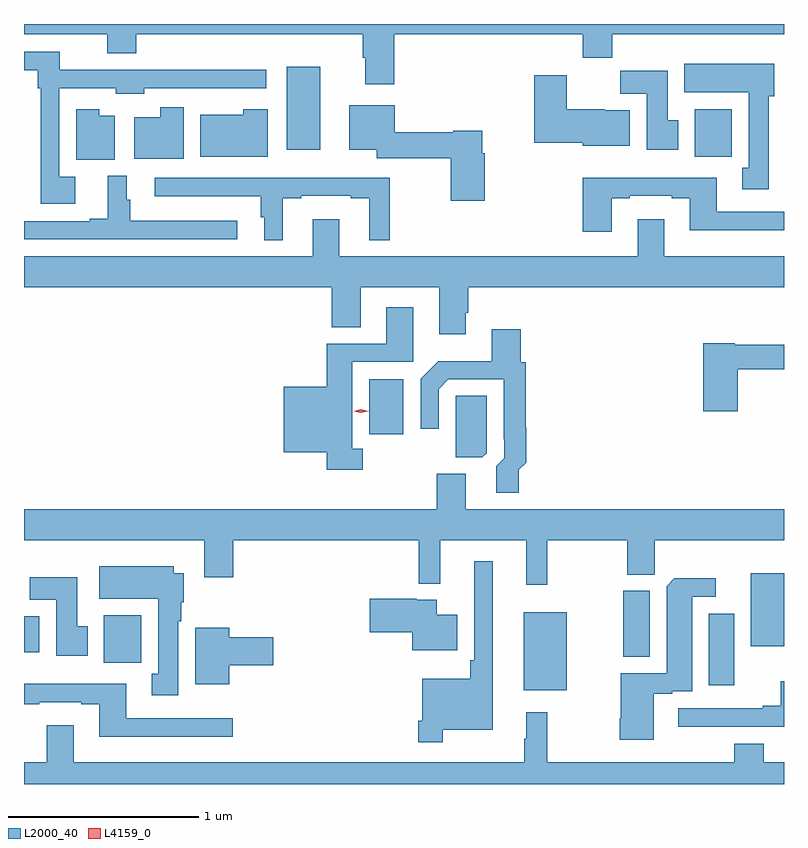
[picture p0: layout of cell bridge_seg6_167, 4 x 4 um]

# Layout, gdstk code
import gdstk
lib = gdstk.Library(unit=1e-6, precision=1e-09)
def R(c, l, rs):  # rectangles x0, y0, x1, y1
    for r in rs: c.add(gdstk.rectangle(r[:2], r[2:], *l))
def P(c, l, *ps):  # polygons
    for p in ps: c.add(gdstk.Polygon(p, *l))
L2000_40 = (2000, 40)
L4159_0 = (4159, 0)

bridge_seg6_167 = lib.new_cell('bridge_seg6_167')
R(bridge_seg6_167, L2000_40, [(216.557,975.851,216.784,976.261), (217.532,975.879,217.666,976.255), (214.349,975.996,214.545,976.246), (217.082,976.027,217.222,976.374), (213.928,976.052,214.009,976.24), (217.754,976.082,217.928,976.468), (215.744,977.198,215.923,977.488), (217.457,978.66,217.653,978.91), (215.312,978.695,215.488,979.132)])
P(bridge_seg6_167, L2000_40, [(215.876,979.304),(216.869,979.304),(216.869,979.18),(217.025,979.18),(217.025,979.304),(217.928,979.304),(217.928,979.358),(213.928,979.358),(213.928,979.304),(214.367,979.304),(214.367,979.205),(214.52,979.205),(214.52,979.304),(215.711,979.304),(215.711,979.181),(215.723,979.181),(215.723,979.041),(215.876,979.041)],
  [(214.198,978.553),(214.113,978.553),(214.113,979.02),(214.41,979.02),(214.41,978.992),(214.56,978.992),(214.56,979.02),(214.864,979.02),(214.864,979.019),(215.203,979.019),(215.203,979.118),(214.116,979.118),(214.116,979.212),(213.928,979.212),(213.928,979.115),(214.001,979.115),(214.001,979.019),(214.017,979.019),(214.017,978.413),(214.198,978.413)],
  [(217.849,978.978),(217.876,978.978),(217.876,979.15),(217.403,979.15),(217.403,978.998),(217.742,978.998),(217.742,978.601),(217.709,978.601),(217.709,978.489),(217.849,978.489)],
  [(217.372,978.852),(217.315,978.852),(217.315,979.111),(217.066,979.111),(217.066,978.992),(217.205,978.992),(217.205,978.696),(217.372,978.696)],
  [(217.117,978.904),(216.984,978.904),(216.984,978.91),(216.784,978.91),(216.784,979.087),(216.614,979.087),(216.614,978.734),(216.87,978.734),(216.87,978.716),(217.117,978.716)],
  [(216.353,978.677),(216.34,978.677),(216.34,978.796),(216.186,978.796),(216.186,978.788),(215.878,978.788),(215.878,978.931),(215.639,978.931),(215.639,978.695),(215.784,978.695),(215.784,978.652),(216.175,978.652),(216.175,978.429),(216.353,978.429)],
  [(214.768,978.919),(214.646,978.919),(214.646,978.868),(214.508,978.868),(214.508,978.65),(214.768,978.65)],
  [(214.405,978.874),(214.324,978.874),(214.324,978.91),(214.202,978.91),(214.202,978.644),(214.405,978.644)],
  [(215.212,978.91),(215.083,978.91),(215.083,978.88),(214.856,978.88),(214.856,978.659),(215.212,978.659)],
  [(215.05,978.322),(214.487,978.322),(214.487,978.432),(214.468,978.432),(214.468,978.559),(214.37,978.559),(214.37,978.334),(214.274,978.334),(214.274,978.321),(213.928,978.321),(213.928,978.225),(215.05,978.225)],
  [(217.021,978.441),(217.117,978.441),(217.117,978.453),(217.337,978.453),(217.337,978.441),(217.433,978.441),(217.433,978.272),(217.928,978.272),(217.928,978.369),(217.573,978.369),(217.573,978.55),(216.869,978.55),(216.869,978.264),(217.021,978.264)],
  [(215.29,978.441),(215.386,978.441),(215.386,978.453),(215.648,978.453),(215.648,978.441),(215.744,978.441),(215.744,978.221),(215.854,978.221),(215.854,978.55),(215.316,978.55),(215.316,978.549),(214.617,978.549),(214.617,978.452),(215.173,978.452),(215.173,978.342),(215.192,978.342),(215.192,978.221),(215.29,978.221)],
  [(216.253,977.839),(216.266,977.839),(216.266,977.972),(217.928,977.972),(217.928,978.136),(217.297,978.136),(217.297,978.331),(217.157,978.331),(217.157,978.136),(215.587,978.136),(215.587,978.331),(215.447,978.331),(215.447,978.136),(213.928,978.136),(213.928,977.972),(215.549,977.972),(215.549,977.761),(215.701,977.761),(215.701,977.972),(216.113,977.972),(216.113,977.724),(216.253,977.724)],
  [(215.71,977.122),(215.656,977.122),(215.656,977.58),(215.977,977.58),(215.977,977.866),(215.834,977.866),(215.834,977.676),(215.522,977.676),(215.522,977.449),(215.294,977.449),(215.294,977.105),(215.522,977.105),(215.522,977.012),(215.71,977.012)],
  [(216.533,977.012),(216.572,977.05),(216.572,977.234),(216.569,977.234),(216.569,977.577),(216.542,977.577),(216.542,977.752),(216.389,977.752),(216.389,977.584),(216.109,977.584),(216.015,977.49),(216.015,977.229),(216.111,977.229),(216.111,977.436),(216.162,977.487),(216.453,977.487),(216.453,977.173),(216.456,977.173),(216.456,977.073),(216.413,977.03),(216.413,976.89),(216.533,976.89)],
  [(217.685,977.542),(217.928,977.542),(217.928,977.671),(217.668,977.671),(217.668,977.679),(217.502,977.679),(217.502,977.319),(217.685,977.319)],
  [(216.363,977.1),(216.363,977.402),(216.201,977.402),(216.201,977.291),(216.2,977.291),(216.2,977.077),(216.339,977.077)],
  [(216.682,976.64),(217.102,976.64),(217.102,976.459),(217.247,976.459),(217.247,976.64),(217.928,976.64),(217.928,976.804),(216.253,976.804),(216.253,976.992),(216.101,976.992),(216.101,976.804),(213.928,976.804),(213.928,976.64),(214.877,976.64),(214.877,976.446),(215.03,976.446),(215.03,976.64),(216.006,976.64),(216.006,976.412),(216.119,976.412),(216.119,976.64),(216.572,976.64),(216.572,976.407),(216.682,976.407)],
  [(216.133,975.644),(216.394,975.644),(216.394,976.531),(216.297,976.531),(216.297,976.009),(216.277,976.009),(216.277,975.913),(216.024,975.913),(216.024,975.691),(216.004,975.691),(216.004,975.579),(216.133,975.579)],
  [(214.741,976.214),(214.756,976.214),(214.756,976.314),(214.768,976.314),(214.768,976.468),(214.717,976.468),(214.717,976.504),(214.325,976.504),(214.325,976.334),(214.634,976.334),(214.634,975.937),(214.601,975.937),(214.601,975.825),(214.741,975.825)],
  [(214.264,976.188),(214.207,976.188),(214.207,976.446),(213.958,976.446),(213.958,976.328),(214.097,976.328),(214.097,976.032),(214.264,976.032)],
  [(217.243,975.834),(217.34,975.834),(217.34,975.846),(217.444,975.846),(217.444,976.344),(217.57,976.344),(217.57,976.442),(217.351,976.442),(217.31,976.4),(217.31,975.942),(217.07,975.942),(217.07,975.703),(217.063,975.703),(217.063,975.591),(217.243,975.591)],
  [(216.208,976.249),(216.1,976.249),(216.1,976.327),(215.996,976.327),(215.996,976.332),(215.748,976.332),(215.748,976.157),(215.972,976.157),(215.972,976.061),(216.208,976.061)],
  [(215.008,975.983),(215.239,975.983),(215.239,976.13),(215.008,976.13),(215.008,976.18),(214.829,976.18),(214.829,975.884),(215.008,975.884)],
  [(217.928,975.898),(217.912,975.898),(217.912,975.769),(217.817,975.769),(217.817,975.756),(217.371,975.756),(217.371,975.66),(217.928,975.66)],
  [(215.026,975.705),(214.465,975.705),(214.465,975.886),(213.928,975.886),(213.928,975.777),(214.009,975.777),(214.009,975.789),(214.229,975.789),(214.229,975.777),(214.325,975.777),(214.325,975.608),(215.026,975.608)],
  [(217.928,975.472),(217.821,975.472),(217.821,975.571),(217.666,975.571),(217.666,975.472),(216.682,975.472),(216.682,975.736),(216.572,975.736),(216.572,975.596),(216.561,975.596),(216.561,975.472),(214.189,975.472),(214.189,975.667),(214.049,975.667),(214.049,975.472),(213.928,975.472),(213.928,975.358),(217.928,975.358)])
P(bridge_seg6_167, L4159_0, [(215.701,977.311),(215.663,977.32),(215.663,977.321),(215.663,977.321),(215.701,977.331),(215.739,977.321),(215.739,977.321),(215.739,977.32)])

lib.write_gds('bridge_seg6_167.gds')
